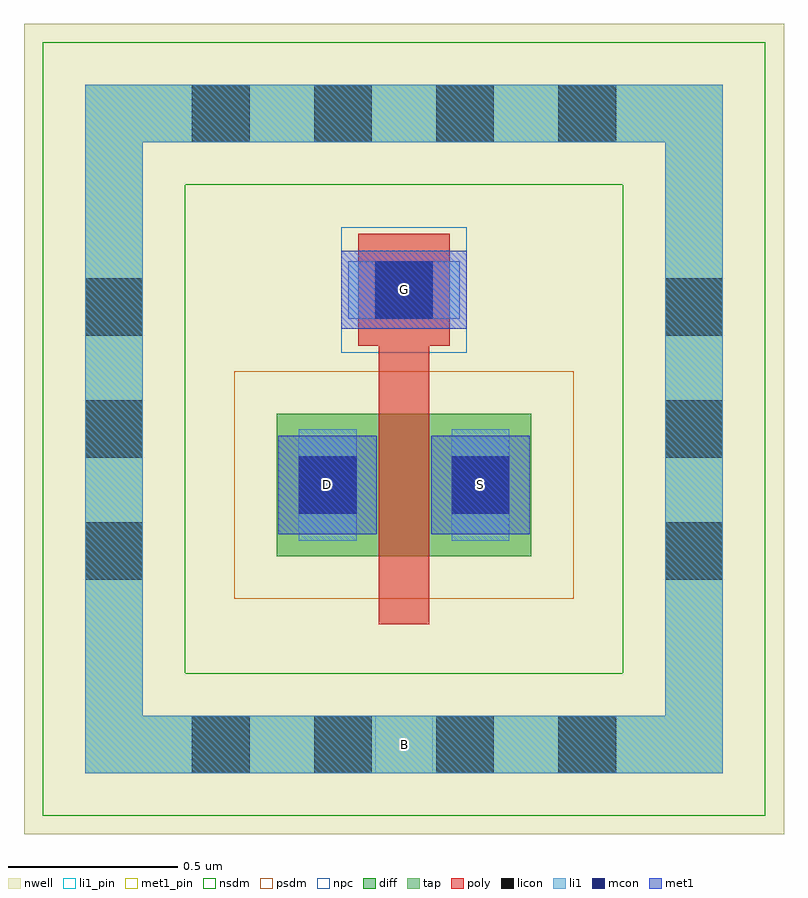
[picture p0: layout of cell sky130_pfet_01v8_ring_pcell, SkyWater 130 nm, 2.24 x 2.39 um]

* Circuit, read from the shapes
.subckt sky130_pfet_01v8_ring_pcell B D G S
XM1 S G D B sky130_fd_pr__pfet_01v8 w=0.42 l=0.15
.ends

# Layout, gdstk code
import gdstk
lib = gdstk.Library(unit=1e-6, precision=1e-09)
def R(c, l, rs):  # rectangles x0, y0, x1, y1
    for r in rs: c.add(gdstk.rectangle(r[:2], r[2:], *l))
def A(c, l, x, y, w, h, nx, ny, dx, dy):  # array of equal rectangles
    R(c, l, [(x+i*dx, y+j*dy, x+i*dx+w, y+j*dy+h) for i in range(nx) for j in range(ny)])
def P(c, l, *ps):  # polygons
    for p in ps: c.add(gdstk.Polygon(p, *l))
nwell = (64, 20)
diff = (65, 20)
tap = (65, 44)
poly = (66, 20)
licon = (66, 44)
li1_pin = (67, 16)
li1 = (67, 20)
mcon = (67, 44)
met1_pin = (68, 16)
met1 = (68, 20)
nsdm = (93, 44)
psdm = (94, 20)
npc = (95, 20)

pfet = lib.new_cell('pfet')
R(pfet, nwell, [(-0.305,-0.38,1.055,1.14)])
R(pfet, diff, [(0,0,0.75,0.42)])
R(pfet, poly, [(0.3,-0.2,0.45,0.62), (0.24,0.62,0.51,0.95)])
R(pfet, licon, [(0.065,0.125,0.235,0.295), (0.515,0.125,0.685,0.295), (0.29,0.7,0.46,0.87)])
R(pfet, li1, [(0.065,0.045,0.235,0.375), (0.515,0.045,0.685,0.375), (0.21,0.7,0.54,0.87)])
R(pfet, mcon, [(0.065,0.125,0.235,0.295), (0.515,0.125,0.685,0.295), (0.29,0.7,0.46,0.87)])
R(pfet, met1, [(0.005,0.065,0.295,0.355), (0.455,0.065,0.745,0.355), (0.19,0.67,0.56,0.9)])
R(pfet, psdm, [(-0.125,-0.125,0.875,0.545)])
R(pfet, npc, [(0.23,0.61,0.52,0.96)])

guard_ring_gen = lib.new_cell('guard_ring_gen')
P(guard_ring_gen, tap, [(-0.17,-0.17),(-0.17,1.69),(0,1.69),(0,0),(1.54,0),(1.54,1.69),(-0.17,1.69),(-0.17,1.86),(1.71,1.86),(1.71,-0.17)])
A(guard_ring_gen, licon, 0.145, -0.17, 0.17, 0.17, 4, 2, 0.36, 1.86)
A(guard_ring_gen, licon, -0.17, 0.4, 0.17, 0.17, 1, 3, 0, 0.36)
A(guard_ring_gen, licon, 1.54, 0.4, 0.17, 0.17, 1, 3, 0, 0.36)
P(guard_ring_gen, li1, [(-0.17,-0.17),(-0.17,1.69),(0,1.69),(0,0),(1.54,0),(1.54,1.69),(-0.17,1.69),(-0.17,1.86),(1.71,1.86),(1.71,-0.17)])
P(guard_ring_gen, nsdm, [(-0.295,-0.295),(-0.295,1.565),(0.125,1.565),(0.125,0.125),(1.415,0.125),(1.415,1.565),(-0.295,1.565),(-0.295,1.985),(1.835,1.985),(1.835,-0.295)])

sky130_pfet_01v8_ring_pc = lib.new_cell('sky130_pfet_01v8_ring_pcell')
R(sky130_pfet_01v8_ring_pc, nwell, [(-0.745,-0.82,1.495,1.57)])
R(sky130_pfet_01v8_ring_pc, li1_pin, [(0.29,-0.64,0.46,-0.47)])
R(sky130_pfet_01v8_ring_pc, met1_pin, [(0.065,0.125,0.235,0.295), (0.515,0.125,0.685,0.295), (0.29,0.7,0.46,0.87)])
R(sky130_pfet_01v8_ring_pc, npc, [(0.19,0.6,0.56,0.97)])
sky130_pfet_01v8_ring_pc.add(gdstk.Reference(pfet, (0,0)))
sky130_pfet_01v8_ring_pc.add(gdstk.Reference(guard_ring_gen, (-0.395,-0.47)))
sky130_pfet_01v8_ring_pc.add(gdstk.Label('D', (0.15,0.21), layer=68, texttype=5))
sky130_pfet_01v8_ring_pc.add(gdstk.Label('S', (0.6,0.21), layer=68, texttype=5))
sky130_pfet_01v8_ring_pc.add(gdstk.Label('G', (0.375,0.785), layer=68, texttype=5))
sky130_pfet_01v8_ring_pc.add(gdstk.Label('B', (0.375,-0.555), layer=67, texttype=5))

lib.write_gds('sky130_pfet_01v8_ring_pcell.gds')
